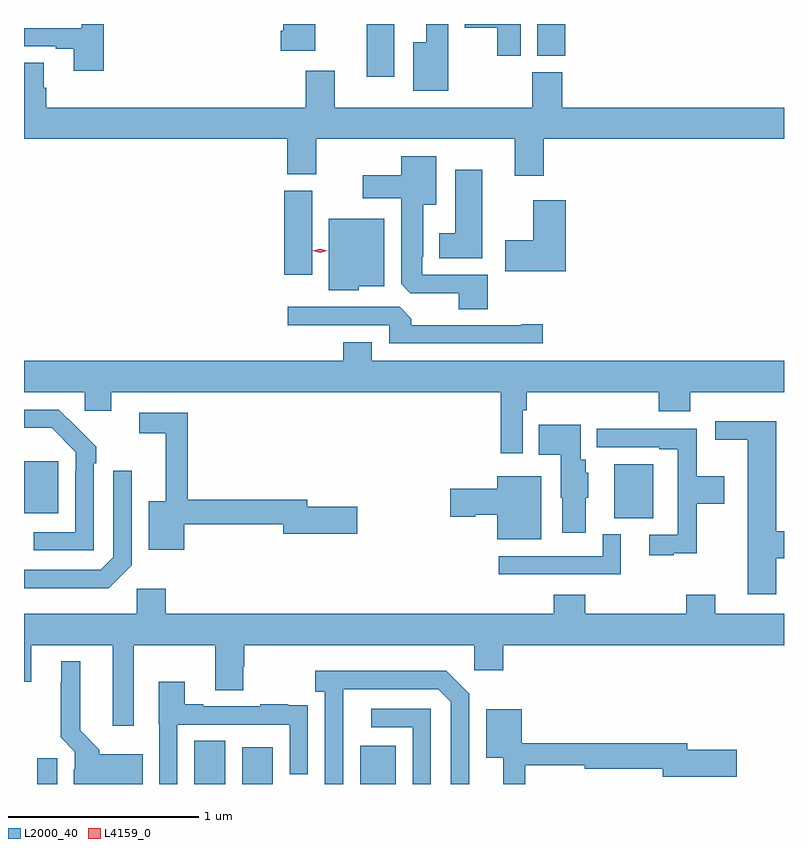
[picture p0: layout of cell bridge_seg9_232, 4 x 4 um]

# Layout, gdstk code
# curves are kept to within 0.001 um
import gdstk
lib = gdstk.Library(unit=1e-6, precision=1e-09)
def R(c, l, rs):  # rectangles x0, y0, x1, y1
    for r in rs: c.add(gdstk.rectangle(r[:2], r[2:], *l))
def P(c, l, *ps):  # polygons
    for p in ps: c.add(gdstk.Polygon(p, *l))
L2000_40 = (2000, 40)
L4159_0 = (4159, 0)

bridge_seg9_232 = lib.new_cell('bridge_seg9_232')
R(bridge_seg9_232, L2000_40, [(184.031,1211.673,184.135,1211.809), (184.856,1211.673,185.02,1211.9), (185.108,1211.673,185.269,1211.866), (185.729,1211.673,185.917,1211.875), (187.067,1213.073,187.273,1213.357), (183.96,1213.097,184.141,1213.372), (185.33,1214.352,185.476,1214.796), (185.765,1215.396,185.908,1215.673), (186.662,1215.505,186.809,1215.673)])
P(bridge_seg9_232, L2000_40, [(186.193,1215.673),(186.077,1215.673),(186.077,1215.577),(186.008,1215.577),(186.008,1215.323),(186.193,1215.323)],
  [(184.379,1215.673),(184.263,1215.673),(184.263,1215.651),(183.96,1215.651),(183.96,1215.555),(184.127,1215.555),(184.127,1215.543),(184.223,1215.543),(184.223,1215.426),(184.379,1215.426)],
  [(186.574,1215.673),(186.281,1215.673),(186.281,1215.653),(186.452,1215.653),(186.452,1215.507),(186.574,1215.507)],
  [(185.494,1215.673),(185.324,1215.673),(185.324,1215.637),(185.312,1215.637),(185.312,1215.533),(185.494,1215.533)],
  [(186.695,1215.068),(187.96,1215.068),(187.96,1215.232),(186.794,1215.232),(186.794,1215.42),(186.634,1215.42),(186.634,1215.232),(185.596,1215.232),(185.596,1215.427),(185.444,1215.427),(185.444,1215.232),(184.076,1215.232),(184.076,1215.338),(184.063,1215.338),(184.063,1215.47),(183.96,1215.47),(183.96,1215.068),(185.345,1215.068),(185.345,1214.881),(185.497,1214.881),(185.497,1215.068),(186.542,1215.068),(186.542,1214.874),(186.695,1214.874)],
  [(186.401,1214.352),(186.057,1214.352),(186.057,1214.449),(186.061,1214.449),(186.061,1214.723),(186.13,1214.723),(186.13,1214.977),(185.945,1214.977),(185.945,1214.878),(185.742,1214.878),(185.742,1214.756),(185.945,1214.756),(185.945,1214.305),(185.994,1214.256),(186.248,1214.256),(186.248,1214.173),(186.401,1214.173)],
  [(186.373,1214.905),(186.23,1214.905),(186.23,1214.572),(186.146,1214.572),(186.146,1214.441),(186.373,1214.441)],
  [(186.812,1214.746),(186.641,1214.746),(186.641,1214.535),(186.492,1214.535),(186.492,1214.372),(186.812,1214.372)],
  [(185.721,1214.294),(185.857,1214.294),(185.857,1214.647),(185.564,1214.647),(185.564,1214.273),(185.721,1214.273)],
  [(186.691,1214.093),(186.578,1214.093),(186.578,1214.088),(185.999,1214.088),(185.999,1214.122),(185.937,1214.184),(185.349,1214.184),(185.349,1214.088),(185.883,1214.088),(185.883,1213.992),(186.691,1213.992)],
  [(186.585,1213.64),(186.605,1213.64),(186.605,1213.736),(187.301,1213.736),(187.301,1213.634),(187.466,1213.634),(187.466,1213.736),(187.96,1213.736),(187.96,1213.9),(185.791,1213.9),(185.791,1213.999),(185.639,1213.999),(185.639,1213.9),(183.96,1213.9),(183.96,1213.736),(184.281,1213.736),(184.281,1213.638),(184.42,1213.638),(184.42,1213.736),(186.469,1213.736),(186.469,1213.413),(186.585,1213.413)],
  [(184.326,1213.361),(184.341,1213.361),(184.341,1213.449),(184.144,1213.644),(183.96,1213.644),(183.96,1213.548),(184.105,1213.548),(184.233,1213.419),(184.233,1213.319),(184.23,1213.319),(184.23,1212.999),(184.011,1212.999),(184.011,1212.903),(184.326,1212.903)],
  [(184.804,1213.041),(185.324,1213.041),(185.324,1212.991),(185.713,1212.991),(185.713,1213.133),(185.452,1213.133),(185.452,1213.169),(184.823,1213.169),(184.823,1213.626),(184.566,1213.626),(184.566,1213.518),(184.706,1213.518),(184.706,1213.162),(184.616,1213.162),(184.616,1212.905),(184.804,1212.905)],
  [(187.919,1212.862),(187.96,1212.862),(187.96,1213.004),(187.919,1213.004),(187.919,1213.582),(187.599,1213.582),(187.599,1213.484),(187.769,1213.484),(187.769,1212.672),(187.919,1212.672)],
  [(186.916,1213.179),(186.931,1213.179),(186.931,1213.311),(186.916,1213.311),(186.916,1213.38),(186.889,1213.38),(186.889,1213.564),(186.67,1213.564),(186.67,1213.406),(186.785,1213.406),(186.785,1213.179),(186.794,1213.179),(186.794,1212.996),(186.916,1212.996)],
  [(187.379,1212.887),(187.502,1212.887),(187.502,1213.147),(187.645,1213.147),(187.645,1213.294),(187.502,1213.294),(187.502,1213.542),(187.217,1213.542),(187.217,1213.544),(186.975,1213.544),(186.975,1213.446),(187.304,1213.446),(187.304,1213.434),(187.401,1213.434),(187.401,1212.984),(187.251,1212.984),(187.251,1212.876),(187.379,1212.876)],
  [(184.527,1212.825),(184.527,1213.321),(184.431,1213.321),(184.431,1212.867),(184.365,1212.801),(183.96,1212.801),(183.96,1212.704),(184.406,1212.704)],
  [(186.682,1213.294),(186.452,1213.294),(186.452,1213.226),(186.204,1213.226),(186.204,1213.079),(186.336,1213.079),(186.336,1213.091),(186.452,1213.091),(186.452,1212.962),(186.682,1212.962)],
  [(187.102,1212.988),(187.005,1212.988),(187.005,1212.873),(186.459,1212.873),(186.459,1212.777),(187.102,1212.777)],
  [(184.537,1212.404),(184.967,1212.404),(184.967,1212.166),(185.115,1212.166),(185.115,1212.291),(185.12,1212.291),(185.12,1212.404),(186.33,1212.404),(186.33,1212.273),(186.482,1212.273),(186.482,1212.404),(187.96,1212.404),(187.96,1212.568),(187.597,1212.568),(187.597,1212.67),(187.445,1212.67),(187.445,1212.568),(186.914,1212.568),(186.914,1212.67),(186.749,1212.67),(186.749,1212.568),(184.706,1212.568),(184.706,1212.7),(184.554,1212.7),(184.554,1212.568),(183.96,1212.568),(183.96,1212.212),(183.997,1212.212),(183.997,1212.404),(184.427,1212.404),(184.427,1211.979),(184.537,1211.979)],
  [(184.585,1211.83),(184.356,1211.83),(184.356,1211.854),(184.255,1211.956),(184.255,1212.319),(184.157,1212.319),(184.157,1212.209),(184.153,1212.209),(184.153,1211.918),(184.227,1211.844),(184.227,1211.75),(184.223,1211.75),(184.223,1211.673),(184.585,1211.673)],
  [(185.64,1211.971),(185.641,1212.171),(186.141,1212.171),(186.207,1212.105),(186.207,1211.673),(186.303,1211.673),(186.303,1212.147),(186.182,1212.268),(185.493,1212.268),(185.493,1212.158),(185.544,1212.158),(185.544,1211.673),(185.64,1211.673)],
  [(184.767,1211.985),(185.358,1211.985),(185.358,1211.724),(185.454,1211.724),(185.454,1211.978),(185.453,1211.978),(185.453,1212.087),(185.351,1212.087),(185.351,1212.094),(185.203,1212.094),(185.203,1212.081),(184.903,1212.081),(184.903,1212.094),(184.807,1212.094),(184.807,1212.211),(184.67,1212.211),(184.67,1211.988),(184.671,1211.988),(184.671,1211.673),(184.767,1211.673)],
  [(186.102,1212.069),(185.787,1212.069),(185.787,1211.973),(186.006,1211.973),(186.006,1211.673),(186.102,1211.673)],
  [(186.599,1211.772),(186.91,1211.772),(186.91,1211.752),(187.322,1211.752),(187.322,1211.71),(187.711,1211.71),(187.711,1211.852),(187.45,1211.852),(187.45,1211.888),(186.579,1211.888),(186.579,1212.067),(186.392,1212.067),(186.392,1211.81),(186.482,1211.81),(186.482,1211.673),(186.599,1211.673)])
P(bridge_seg9_232, L4159_0, [(185.519,1214.47),(185.48,1214.48),(185.48,1214.48),(185.48,1214.48),(185.519,1214.49),(185.557,1214.48),(185.557,1214.48),(185.557,1214.48)])

lib.write_gds('bridge_seg9_232.gds')
